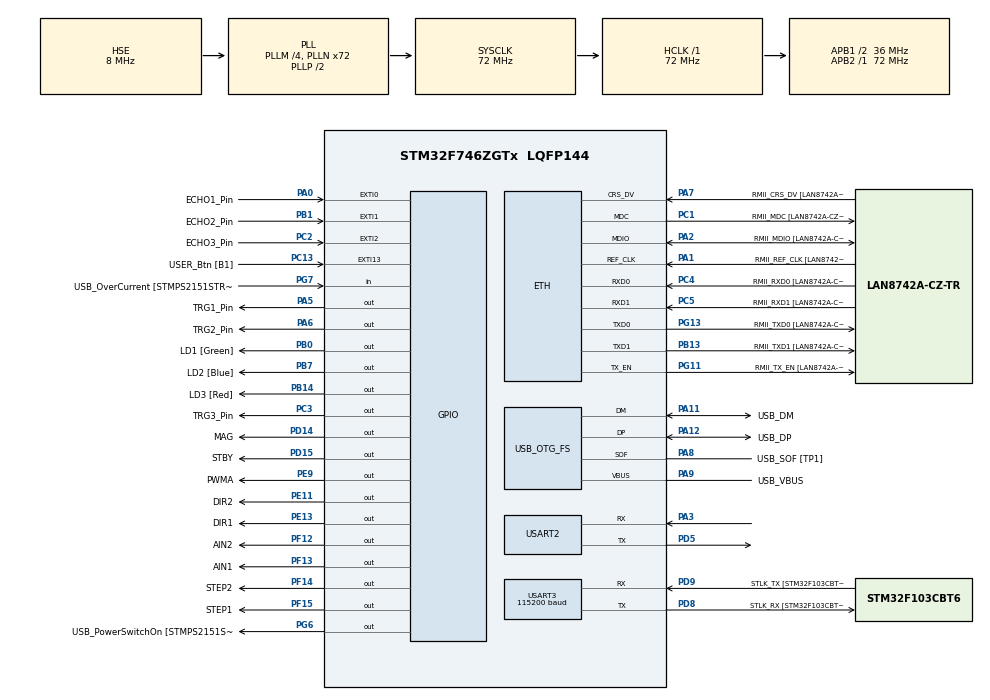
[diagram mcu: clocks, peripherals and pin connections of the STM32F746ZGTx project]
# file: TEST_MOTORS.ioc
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ETH.MACAddr=00\:80\:E1\:00\:00\:02
ETH.MediaInterface=HAL_ETH_RMII_MODE
ETH.PHY_Name=LAN8742A_PHY_ADDRESS
ETH.PHY_Value=0
ETH.PhyAddress=0
ETH.RxMode=ETH_RXINTERRUPT_MODE
FREERTOS.Tasks01=defaultTask,0,2048,StartDefaultTask,Default,NULL,Dynamic,NULL,NULL
FREERTOS.configTOTAL_HEAP_SIZE=96256
FREERTOS.configUSE_NEWLIB_REENTRANT=1
LWIP.BSP.number=1
LWIP.GATEWAY_ADDRESS=192.168.000.001
LWIP.IP_ADDRESS=192.168.000.010
LWIP.LWIP_DHCP=0
LWIP.NETMASK_ADDRESS=255.255.255.000
LWIP.SLIPIF_THREAD_STACKSIZE=1024
LWIP.TCPIP_THREAD_STACKSIZE=2048
LWIP.Version=v2.1.2_Cube
LWIP0.BSP.STBoard=false
LWIP0.BSP.api=BSP_COMPONENT_DRIVER
LWIP0.BSP.component=LAN8742
LWIP0.BSP.instance=LAN8742
LWIP0.BSP.name=Driver_PHY
LWIP0.BSP.semaphore=S_LAN8742
LWIP0.BSP.solution=LAN8742
Mcu.Family=STM32F7
Mcu.Name=STM32F746ZGTx
Mcu.Package=LQFP144
NVIC.ETH_IRQn=true\:5\:0\:false\:false\:true\:true\:false\:true\:true
NVIC.ETH_WKUP_IRQn=true\:5\:0\:false\:false\:true\:true\:true\:true\:true
NVIC.EXTI0_IRQn=true\:5\:0\:false\:false\:true\:true\:true\:true\:true
NVIC.EXTI1_IRQn=true\:5\:0\:false\:false\:true\:true\:true\:true\:true
NVIC.EXTI2_IRQn=true\:5\:0\:false\:false\:true\:true\:true\:true\:true
NVIC.PriorityGroup=NVIC_PRIORITYGROUP_4
NVIC.TIM5_IRQn=true\:15\:0\:false\:false\:true\:false\:false\:true\:true
NVIC.TimeBase=TIM5_IRQn
NVIC.TimeBaseIP=TIM5
NVIC.USART2_IRQn=true\:5\:0\:false\:false\:true\:true\:true\:true\:true
NVIC.USART3_IRQn=true\:5\:0\:false\:false\:true\:true\:true\:true\:true
PA0/WKUP.GPIO_Label=ECHO1_Pin
PA0/WKUP.GPIO_ModeDefaultEXTI=GPIO_MODE_IT_RISING_FALLING
PA0/WKUP.Signal=GPXTI0
PA1.GPIO_Label=RMII_REF_CLK [LAN8742A-CZ-TR_REFCLK0]
PA1.Mode=RMII
PA1.Signal=ETH_REF_CLK
PA10.GPIO_Label=USB_ID
PA10.Signal=USB_OTG_FS_ID
PA11.GPIO_Label=USB_DM
PA11.Mode=Device_Only
PA11.Signal=USB_OTG_FS_DM
PA12.GPIO_Label=USB_DP
PA12.Mode=Device_Only
PA12.Signal=USB_OTG_FS_DP
PA13.GPIO_Label=TMS
PA13.Mode=Serial_Wire
PA13.Signal=SYS_JTMS-SWDIO
PA14.GPIO_Label=TCK
PA14.Mode=Serial_Wire
PA14.Signal=SYS_JTCK-SWCLK
PA2.GPIO_Label=RMII_MDIO [LAN8742A-CZ-TR_MDIO]
PA2.Mode=RMII
PA2.Signal=ETH_MDIO
PA3.Mode=Asynchronous
PA3.Signal=USART2_RX
PA5.GPIO_Label=TRG1_Pin
PA5.Signal=GPIO_Output
PA6.GPIO_Label=TRG2_Pin
PA6.Signal=GPIO_Output
PA7.GPIO_Label=RMII_CRS_DV [LAN8742A-CZ-TR_CRS_DV]
PA7.Mode=RMII
PA7.Signal=ETH_CRS_DV
PA8.GPIO_Label=USB_SOF [TP1]
PA8.Mode=Activate_SOF_FS
PA8.Signal=USB_OTG_FS_SOF
PA9.GPIO_Label=USB_VBUS
PA9.Mode=Activate_VBUS
PA9.Signal=USB_OTG_FS_VBUS
PB0.GPIO_Label=LD1 [Green]
PB0.Signal=GPIO_Output
PB1.GPIO_Label=ECHO2_Pin
PB1.GPIO_ModeDefaultEXTI=GPIO_MODE_IT_RISING_FALLING
PB1.Signal=GPXTI1
PB13.GPIO_Label=RMII_TXD1 [LAN8742A-CZ-TR_TXD1]
PB13.Mode=RMII
PB13.Signal=ETH_TXD1
PB14.GPIO_Label=LD3 [Red]
PB14.Signal=GPIO_Output
PB3.GPIO_Label=SW0
PB3.Signal=SYS_JTDO-SWO
PB7.GPIO_Label=LD2 [Blue]
PB7.Signal=GPIO_Output
PC1.GPIO_Label=RMII_MDC [LAN8742A-CZ-TR_MDC]
PC1.Mode=RMII
PC1.Signal=ETH_MDC
PC13.GPIO_Label=USER_Btn [B1]
PC13.Signal=GPXTI13
PC14/OSC32_IN.Mode=LSE-External-Oscillator
PC14/OSC32_IN.Signal=RCC_OSC32_IN
PC15/OSC32_OUT.Mode=LSE-External-Oscillator
PC15/OSC32_OUT.Signal=RCC_OSC32_OUT
PC2.GPIO_Label=ECHO3_Pin
PC2.GPIO_ModeDefaultEXTI=GPIO_MODE_IT_RISING_FALLING
PC2.Signal=GPXTI2
PC3.GPIO_Label=TRG3_Pin
PC3.Signal=GPIO_Output
PC4.GPIO_Label=RMII_RXD0 [LAN8742A-CZ-TR_RXD0]
PC4.Mode=RMII
PC4.Signal=ETH_RXD0
PC5.GPIO_Label=RMII_RXD1 [LAN8742A-CZ-TR_RXD1]
PC5.Mode=RMII
PC5.Signal=ETH_RXD1
PD14.GPIO_Label=MAG
PD14.Signal=GPIO_Output
PD15.GPIO_Label=STBY
PD15.Signal=GPIO_Output
PD5.Mode=Asynchronous
PD5.Signal=USART2_TX
PD8.GPIO_Label=STLK_RX [STM32F103CBT6_PA3]
PD8.GPIO_PuPd=GPIO_PULLUP
PD8.Mode=Asynchronous
PD8.Signal=USART3_TX
PD9.GPIO_Label=STLK_TX [STM32F103CBT6_PA2]
PD9.GPIO_PuPd=GPIO_PULLUP
PD9.Mode=Asynchronous
PD9.Signal=USART3_RX
PE11.GPIO_Label=DIR2
PE11.Signal=GPIO_Output
PE13.GPIO_Label=DIR1
PE13.Signal=GPIO_Output
PE9.GPIO_Label=PWMA
PE9.Signal=GPIO_Output
PF12.GPIO_Label=AIN2
PF12.Signal=GPIO_Output
PF13.GPIO_Label=AIN1
PF13.Signal=GPIO_Output
PF14.GPIO_Label=STEP2
PF14.Signal=GPIO_Output
PF15.GPIO_Label=STEP1
PF15.Signal=GPIO_Output
PG11.GPIO_Label=RMII_TX_EN [LAN8742A-CZ-TR_TXEN]
PG11.Mode=RMII
PG11.Signal=ETH_TX_EN
PG13.GPIO_Label=RMII_TXD0 [LAN8742A-CZ-TR_TXD0]
PG13.Mode=RMII
PG13.Signal=ETH_TXD0
PG6.GPIO_Label=USB_PowerSwitchOn [STMPS2151STR_EN]
PG6.Signal=GPIO_Output
PG7.GPIO_Label=USB_OverCurrent [STMPS2151STR_FAULT]
PG7.Signal=GPIO_Input
PH0/OSC_IN.GPIO_Label=MCO [STM32F103CBT6_PA8]
PH0/OSC_IN.Mode=HSE-External-Clock-Source
PH0/OSC_IN.Signal=RCC_OSC_IN
PH1/OSC_OUT.Mode=HSE-External-Clock-Source
PH1/OSC_OUT.Signal=RCC_OSC_OUT
ProjectManager.HeapSize=0x200
ProjectManager.StackSize=0x400
ProjectManager.TargetToolchain=STM32CubeIDE
RCC.48MHZClocksFreq_Value=24000000
RCC.AHBFreq_Value=72000000
RCC.APB1CLKDivider=RCC_HCLK_DIV2
RCC.APB1Freq_Value=36000000
RCC.APB1TimFreq_Value=72000000
RCC.APB2Freq_Value=72000000
RCC.APB2TimFreq_Value=72000000
RCC.CortexFreq_Value=72000000
RCC.HCLKFreq_Value=72000000
RCC.HSE_VALUE=8000000
RCC.HSI_VALUE=16000000
RCC.PLLM=4
RCC.PLLMUL=RCC_PLL_MUL9
RCC.PLLN=72
RCC.PLLQ=3
RCC.PRESCALERUSB=RCC_USBCLKSOURCE_PLL_DIV1_5
RCC.SYSCLKFreq_VALUE=72000000
RCC.SYSCLKSource=RCC_SYSCLKSOURCE_PLLCLK
RCC.SYSCLKSourceVirtual=RCC_SYSCLKSOURCE_PLLCLK
RCC.USBFreq_Value=48000000
RCC.VCOOutputFreq_Value=144000000
TIM1.Period=99
TIM1.Prescaler=107
TIM2.Prescaler=71
USART2.VirtualMode-Asynchronous=VM_ASYNC
USART3.BaudRate=115200
USART3.VirtualMode-Asynchronous=VM_ASYNC
USB_OTG_FS.VirtualMode=Device_Only
VP_FREERTOS_VS_CMSIS_V1.Mode=CMSIS_V1
VP_LWIP_VS_Enabled.Mode=Enabled
VP_SYS_VS_tim5.Mode=TIM5
VP_TIM1_VS_ClockSourceINT.Mode=Internal
VP_TIM2_VS_ClockSourceINT.Mode=Internal
board=NUCLEO-F746ZG

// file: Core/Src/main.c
/* USER CODE BEGIN Header */
/**
 ******************************************************************************
 * @file           : main.c
 * @brief          : Main program body
 ******************************************************************************
 * @attention
 *
 * Copyright (c) 2026 STMicroelectronics.
 * All rights reserved.
 *
 * This software is licensed under terms that can be found in the LICENSE file
 * in the root directory of this software component.
 * If no LICENSE file comes with this software, it is provided AS-IS.
 *
 ******************************************************************************
 */
/* USER CODE END Header */
#include "main.h"
#include "cmsis_os.h"
#include "lwip.h"

/* USER CODE BEGIN Includes */
#include <stdio.h>
#include <errno.h>
#include "app_autotest.h"
#include "app_hw.h"
#include "modbus_tcp_server.h"
#include "FreeRTOS.h"
#include "modbus_regs.h"
#include "task.h"
#include "pos_task.h"
#include "freertos_user.h"
#include "app_control.h"
#include "uart3_link.h"
#include "home_task.h"
#include "box1_task.h"
#include <string.h>
#include <stdlib.h>

/* USER CODE END Includes */

TIM_HandleTypeDef htim1;
TIM_HandleTypeDef htim2;

UART_HandleTypeDef huart2;
UART_HandleTypeDef huart3;

PCD_HandleTypeDef hpcd_USB_OTG_FS;

osThreadId defaultTaskHandle;

void SystemClock_Config(void);
static void MX_GPIO_Init(void);
static void MX_USART3_UART_Init(void);
static void MX_USB_OTG_FS_PCD_Init(void);
static void MX_TIM1_Init(void);
static void MX_TIM2_Init(void);
static void MX_USART2_UART_Init(void);
void StartDefaultTask(void const * argument);

/* USER CODE BEGIN 0 */

void HAL_GPIO_EXTI_Callback(uint16_t GPIO_Pin) {
	if (GPIO_Pin == ECHO1_Pin_Pin)
		HCSR04_EXTI_Callback(&g_us1, GPIO_Pin);
	else if (GPIO_Pin == ECHO2_Pin_Pin)
		HCSR04_EXTI_Callback(&g_us2, GPIO_Pin);
	else if (GPIO_Pin == ECHO3_Pin_Pin)
		HCSR04_EXTI_Callback(&g_us3, GPIO_Pin);
	else {
		// ignore other EXTI sources (e.g. USER button)
		return;
	}
}
//void HAL_UART_RxCpltCallback(UART_HandleTypeDef *huart) {
//	UART3_Link_OnRxByteIRQ(huart);
//}
//void HomeTest_Task(void const *argument) {
//	(void) argument;
//
//	// Wait a bit so UART starts receiving from Arduino
//	osDelay(1000);
//
//	for (;;) {
//		// Press USER button to run HOME
//		if (HAL_GPIO_ReadPin(USER_Btn_GPIO_Port, USER_Btn_Pin)
//				== GPIO_PIN_SET) {
//			// debounce
//			osDelay(50);
//			while (HAL_GPIO_ReadPin(USER_Btn_GPIO_Port, USER_Btn_Pin)
//					== GPIO_PIN_SET)
//				osDelay(10);
//
//			printf("\r\n[TEST] BOX! start\r\n");
//
//			uint8_t ok = Home_RunOnce();
//
//			if (ok)
//				printf("[TEST] BOX! success\r\n");
//			else
//				printf("[TEST] BOX! fail (err=%u)\r\n",
//						(unsigned) mb_fb[FB_ERR_CODE]);
//		}
//
//		osDelay(50);
//	}
//}

/* USER CODE END 0 */

int main(void)
{

  /* MCU Configuration--------------------------------------------------------*/

  /* Reset of all peripherals, Initializes the Flash interface and the Systick. */
  HAL_Init();

  /* Configure the system clock */
  SystemClock_Config();

  /* Initialize all configured peripherals */
  MX_GPIO_Init();
  MX_USART3_UART_Init();
  MX_USB_OTG_FS_PCD_Init();
  MX_TIM1_Init();
  MX_TIM2_Init();
  MX_USART2_UART_Init();
  /* USER CODE BEGIN 2 */
	HAL_TIM_Base_Start(&htim2);
	APP_HW_Init();
	MX_FREERTOS_Init();
	UART3_Link_Init(&huart2);
  /* USER CODE END 2 */

  /* Create the thread(s) */
  /* definition and creation of defaultTask */
  osThreadDef(defaultTask, StartDefaultTask, osPriorityNormal, 0, 2048);
  defaultTaskHandle = osThreadCreate(osThread(defaultTask), NULL);

  /* USER CODE BEGIN RTOS_THREADS */
	/* USER CODE BEGIN RTOS_THREADS */
	osThreadDef(MB_TCP, ModbusTcpServer_Task, osPriorityNormal, 0, 2048);
	osThreadDef(MB_HB, ModbusHeartbeat_Task, osPriorityLow, 0, 1024);
	osThreadDef(CTRL, Control_Task, osPriorityAboveNormal, 0, 2048);
	//osThreadDef(homeTest, HomeTest_Task, osPriorityNormal, 0, 1024);

	osThreadCreate(osThread(MB_TCP), NULL);
	osThreadCreate(osThread(MB_HB), NULL);
	osThreadCreate(osThread(CTRL), NULL);
//	osThreadCreate(osThread(homeTest), NULL);

  /* USER CODE END RTOS_THREADS */

  /* Start scheduler */
  osKernelStart();

  /* We should never get here as control is now taken by the scheduler */
  /* Infinite loop */
	while (1) {

	}
}

void SystemClock_Config(void)
{
  RCC_OscInitTypeDef RCC_OscInitStruct = {0};
  RCC_ClkInitTypeDef RCC_ClkInitStruct = {0};

  /** Configure LSE Drive Capability
  */
  HAL_PWR_EnableBkUpAccess();

  /** Configure the main internal regulator output voltage
  */
  __HAL_RCC_PWR_CLK_ENABLE();
  __HAL_PWR_VOLTAGESCALING_CONFIG(PWR_REGULATOR_VOLTAGE_SCALE3);

  /** Initializes the RCC Oscillators according to the specified parameters
  * in the RCC_OscInitTypeDef structure.
  */
  RCC_OscInitStruct.OscillatorType = RCC_OSCILLATORTYPE_HSE;
  RCC_OscInitStruct.HSEState = RCC_HSE_BYPASS;
  RCC_OscInitStruct.PLL.PLLState = RCC_PLL_ON;
  RCC_OscInitStruct.PLL.PLLSource = RCC_PLLSOURCE_HSE;
  RCC_OscInitStruct.PLL.PLLM = 4;
  RCC_OscInitStruct.PLL.PLLN = 72;
  RCC_OscInitStruct.PLL.PLLP = RCC_PLLP_DIV2;
  RCC_OscInitStruct.PLL.PLLQ = 3;
  if (HAL_RCC_OscConfig(&RCC_OscInitStruct) != HAL_OK)
  {
    Error_Handler();
  }

  /** Initializes the CPU, AHB and APB buses clocks
  */
  RCC_ClkInitStruct.ClockType = RCC_CLOCKTYPE_HCLK|RCC_CLOCKTYPE_SYSCLK
                              |RCC_CLOCKTYPE_PCLK1|RCC_CLOCKTYPE_PCLK2;
  RCC_ClkInitStruct.SYSCLKSource = RCC_SYSCLKSOURCE_PLLCLK;
  RCC_ClkInitStruct.AHBCLKDivider = RCC_SYSCLK_DIV1;
  RCC_ClkInitStruct.APB1CLKDivider = RCC_HCLK_DIV2;
  RCC_ClkInitStruct.APB2CLKDivider = RCC_HCLK_DIV1;

  if (HAL_RCC_ClockConfig(&RCC_ClkInitStruct, FLASH_LATENCY_2) != HAL_OK)
  {
    Error_Handler();
  }
}

static void MX_TIM1_Init(void)
{

  TIM_ClockConfigTypeDef sClockSourceConfig = {0};
  TIM_MasterConfigTypeDef sMasterConfig = {0};

  htim1.Instance = TIM1;
  htim1.Init.Prescaler = 107;
  htim1.Init.CounterMode = TIM_COUNTERMODE_UP;
  htim1.Init.Period = 99;
  htim1.Init.ClockDivision = TIM_CLOCKDIVISION_DIV1;
  htim1.Init.RepetitionCounter = 0;
  htim1.Init.AutoReloadPreload = TIM_AUTORELOAD_PRELOAD_DISABLE;
  if (HAL_TIM_Base_Init(&htim1) != HAL_OK)
  {
    Error_Handler();
  }
  sClockSourceConfig.ClockSource = TIM_CLOCKSOURCE_INTERNAL;
  if (HAL_TIM_ConfigClockSource(&htim1, &sClockSourceConfig) != HAL_OK)
  {
    Error_Handler();
  }
  sMasterConfig.MasterOutputTrigger = TIM_TRGO_RESET;
  sMasterConfig.MasterOutputTrigger2 = TIM_TRGO2_RESET;
  sMasterConfig.MasterSlaveMode = TIM_MASTERSLAVEMODE_DISABLE;
  if (HAL_TIMEx_MasterConfigSynchronization(&htim1, &sMasterConfig) != HAL_OK)
  {
    Error_Handler();
  }

}

static void MX_TIM2_Init(void)
{

  TIM_ClockConfigTypeDef sClockSourceConfig = {0};
  TIM_MasterConfigTypeDef sMasterConfig = {0};

  htim2.Instance = TIM2;
  htim2.Init.Prescaler = 71;
  htim2.Init.CounterMode = TIM_COUNTERMODE_UP;
  htim2.Init.Period = 4294967295;
  htim2.Init.ClockDivision = TIM_CLOCKDIVISION_DIV1;
  htim2.Init.AutoReloadPreload = TIM_AUTORELOAD_PRELOAD_DISABLE;
  if (HAL_TIM_Base_Init(&htim2) != HAL_OK)
  {
    Error_Handler();
  }
  sClockSourceConfig.ClockSource = TIM_CLOCKSOURCE_INTERNAL;
  if (HAL_TIM_ConfigClockSource(&htim2, &sClockSourceConfig) != HAL_OK)
  {
    Error_Handler();
  }
  sMasterConfig.MasterOutputTrigger = TIM_TRGO_RESET;
  sMasterConfig.MasterSlaveMode = TIM_MASTERSLAVEMODE_DISABLE;
  if (HAL_TIMEx_MasterConfigSynchronization(&htim2, &sMasterConfig) != HAL_OK)
  {
    Error_Handler();
  }

}

static void MX_USART2_UART_Init(void)
{

  huart2.Instance = USART2;
  huart2.Init.BaudRate = 115200;
  huart2.Init.WordLength = UART_WORDLENGTH_8B;
  huart2.Init.StopBits = UART_STOPBITS_1;
  huart2.Init.Parity = UART_PARITY_NONE;
  huart2.Init.Mode = UART_MODE_TX_RX;
  huart2.Init.HwFlowCtl = UART_HWCONTROL_NONE;
  huart2.Init.OverSampling = UART_OVERSAMPLING_16;
  huart2.Init.OneBitSampling = UART_ONE_BIT_SAMPLE_DISABLE;
  huart2.AdvancedInit.AdvFeatureInit = UART_ADVFEATURE_NO_INIT;
  if (HAL_UART_Init(&huart2) != HAL_OK)
  {
    Error_Handler();
  }

}

static void MX_USART3_UART_Init(void)
{

  huart3.Instance = USART3;
  huart3.Init.BaudRate = 115200;
  huart3.Init.WordLength = UART_WORDLENGTH_8B;
  huart3.Init.StopBits = UART_STOPBITS_1;
  huart3.Init.Parity = UART_PARITY_NONE;
  huart3.Init.Mode = UART_MODE_TX_RX;
  huart3.Init.HwFlowCtl = UART_HWCONTROL_NONE;
  huart3.Init.OverSampling = UART_OVERSAMPLING_16;
  huart3.Init.OneBitSampling = UART_ONE_BIT_SAMPLE_DISABLE;
  huart3.AdvancedInit.AdvFeatureInit = UART_ADVFEATURE_NO_INIT;
  if (HAL_UART_Init(&huart3) != HAL_OK)
  {
    Error_Handler();
  }

}

static void MX_USB_OTG_FS_PCD_Init(void)
{

  hpcd_USB_OTG_FS.Instance = USB_OTG_FS;
  hpcd_USB_OTG_FS.Init.dev_endpoints = 6;
  hpcd_USB_OTG_FS.Init.speed = PCD_SPEED_FULL;
  hpcd_USB_OTG_FS.Init.dma_enable = DISABLE;
  hpcd_USB_OTG_FS.Init.phy_itface = PCD_PHY_EMBEDDED;
  hpcd_USB_OTG_FS.Init.Sof_enable = ENABLE;
  hpcd_USB_OTG_FS.Init.low_power_enable = DISABLE;
  hpcd_USB_OTG_FS.Init.lpm_enable = DISABLE;
  hpcd_USB_OTG_FS.Init.vbus_sensing_enable = ENABLE;
  hpcd_USB_OTG_FS.Init.use_dedicated_ep1 = DISABLE;
  if (HAL_PCD_Init(&hpcd_USB_OTG_FS) != HAL_OK)
  {
    Error_Handler();
  }

}

static void MX_GPIO_Init(void)
{
  GPIO_InitTypeDef GPIO_InitStruct = {0};

  /* GPIO Ports Clock Enable */
  __HAL_RCC_GPIOC_CLK_ENABLE();
  __HAL_RCC_GPIOH_CLK_ENABLE();
  __HAL_RCC_GPIOA_CLK_ENABLE();
  __HAL_RCC_GPIOB_CLK_ENABLE();
  __HAL_RCC_GPIOF_CLK_ENABLE();
  __HAL_RCC_GPIOE_CLK_ENABLE();
  __HAL_RCC_GPIOD_CLK_ENABLE();
  __HAL_RCC_GPIOG_CLK_ENABLE();

  /*Configure GPIO pin Output Level */
  HAL_GPIO_WritePin(TRG3_Pin_GPIO_Port, TRG3_Pin_Pin, GPIO_PIN_RESET);

  /*Configure GPIO pin Output Level */
  HAL_GPIO_WritePin(GPIOA, TRG1_Pin_Pin|TRG2_Pin_Pin, GPIO_PIN_RESET);

  /*Configure GPIO pin Output Level */
  HAL_GPIO_WritePin(GPIOB, LD1_Pin|LD3_Pin|LD2_Pin, GPIO_PIN_RESET);

  /*Configure GPIO pin Output Level */
  HAL_GPIO_WritePin(GPIOF, AIN2_Pin|AIN1_Pin|STEP2_Pin|STEP1_Pin, GPIO_PIN_RESET);

  /*Configure GPIO pin Output Level */
  HAL_GPIO_WritePin(GPIOE, PWMA_Pin|DIR2_Pin|DIR1_Pin, GPIO_PIN_RESET);

  /*Configure GPIO pin Output Level */
  HAL_GPIO_WritePin(GPIOD, MAG_Pin|STBY_Pin, GPIO_PIN_RESET);

  /*Configure GPIO pin Output Level */
  HAL_GPIO_WritePin(USB_PowerSwitchOn_GPIO_Port, USB_PowerSwitchOn_Pin, GPIO_PIN_RESET);

  /*Configure GPIO pin : USER_Btn_Pin */
  GPIO_InitStruct.Pin = USER_Btn_Pin;
  GPIO_InitStruct.Mode = GPIO_MODE_IT_RISING;
  GPIO_InitStruct.Pull = GPIO_NOPULL;
  HAL_GPIO_Init(USER_Btn_GPIO_Port, &GPIO_InitStruct);

  /*Configure GPIO pin : ECHO3_Pin_Pin */
  GPIO_InitStruct.Pin = ECHO3_Pin_Pin;
  GPIO_InitStruct.Mode = GPIO_MODE_IT_RISING_FALLING;
  GPIO_InitStruct.Pull = GPIO_NOPULL;
  HAL_GPIO_Init(ECHO3_Pin_GPIO_Port, &GPIO_InitStruct);

  /*Configure GPIO pin : TRG3_Pin_Pin */
  GPIO_InitStruct.Pin = TRG3_Pin_Pin;
  GPIO_InitStruct.Mode = GPIO_MODE_OUTPUT_PP;
  GPIO_InitStruct.Pull = GPIO_NOPULL;
  GPIO_InitStruct.Speed = GPIO_SPEED_FREQ_LOW;
  HAL_GPIO_Init(TRG3_Pin_GPIO_Port, &GPIO_InitStruct);

  /*Configure GPIO pin : ECHO1_Pin_Pin */
  GPIO_InitStruct.Pin = ECHO1_Pin_Pin;
  GPIO_InitStruct.Mode = GPIO_MODE_IT_RISING_FALLING;
  GPIO_InitStruct.Pull = GPIO_NOPULL;
  HAL_GPIO_Init(ECHO1_Pin_GPIO_Port, &GPIO_InitStruct);

  /*Configure GPIO pins : TRG1_Pin_Pin TRG2_Pin_Pin */
  GPIO_InitStruct.Pin = TRG1_Pin_Pin|TRG2_Pin_Pin;
  GPIO_InitStruct.Mode = GPIO_MODE_OUTPUT_PP;
  GPIO_InitStruct.Pull = GPIO_NOPULL;
  GPIO_InitStruct.Speed = GPIO_SPEED_FREQ_LOW;
  HAL_GPIO_Init(GPIOA, &GPIO_InitStruct);

  /*Configure GPIO pins : LD1_Pin LD3_Pin LD2_Pin */
  GPIO_InitStruct.Pin = LD1_Pin|LD3_Pin|LD2_Pin;
  GPIO_InitStruct.Mode = GPIO_MODE_OUTPUT_PP;
  GPIO_InitStruct.Pull = GPIO_NOPULL;
  GPIO_InitStruct.Speed = GPIO_SPEED_FREQ_LOW;
  HAL_GPIO_Init(GPIOB, &GPIO_InitStruct);

  /*Configure GPIO pin : ECHO2_Pin_Pin */
  GPIO_InitStruct.Pin = ECHO2_Pin_Pin;
  GPIO_InitStruct.Mode = GPIO_MODE_IT_RISING_FALLING;
  GPIO_InitStruct.Pull = GPIO_NOPULL;
  HAL_GPIO_Init(ECHO2_Pin_GPIO_Port, &GPIO_InitStruct);

  /*Configure GPIO pins : AIN2_Pin AIN1_Pin STEP2_Pin STEP1_Pin */
  GPIO_InitStruct.Pin = AIN2_Pin|AIN1_Pin|STEP2_Pin|STEP1_Pin;
  GPIO_InitStruct.Mode = GPIO_MODE_OUTPUT_PP;
  GPIO_InitStruct.Pull = GPIO_NOPULL;
  GPIO_InitStruct.Speed = GPIO_SPEED_FREQ_LOW;
  HAL_GPIO_Init(GPIOF, &GPIO_InitStruct);

  /*Configure GPIO pins : PWMA_Pin DIR2_Pin DIR1_Pin */
  GPIO_InitStruct.Pin = PWMA_Pin|DIR2_Pin|DIR1_Pin;
  GPIO_InitStruct.Mode = GPIO_MODE_OUTPUT_PP;
  GPIO_InitStruct.Pull = GPIO_NOPULL;
  GPIO_InitStruct.Speed = GPIO_SPEED_FREQ_LOW;
  HAL_GPIO_Init(GPIOE, &GPIO_InitStruct);

  /*Configure GPIO pins : MAG_Pin STBY_Pin */
  GPIO_InitStruct.Pin = MAG_Pin|STBY_Pin;
  GPIO_InitStruct.Mode = GPIO_MODE_OUTPUT_PP;
  GPIO_InitStruct.Pull = GPIO_NOPULL;
  GPIO_InitStruct.Speed = GPIO_SPEED_FREQ_LOW;
  HAL_GPIO_Init(GPIOD, &GPIO_InitStruct);

  /*Configure GPIO pin : USB_PowerSwitchOn_Pin */
  GPIO_InitStruct.Pin = USB_PowerSwitchOn_Pin;
  GPIO_InitStruct.Mode = GPIO_MODE_OUTPUT_PP;
  GPIO_InitStruct.Pull = GPIO_NOPULL;
  GPIO_InitStruct.Speed = GPIO_SPEED_FREQ_LOW;
  HAL_GPIO_Init(USB_PowerSwitchOn_GPIO_Port, &GPIO_InitStruct);

  /*Configure GPIO pin : USB_OverCurrent_Pin */
  GPIO_InitStruct.Pin = USB_OverCurrent_Pin;
  GPIO_InitStruct.Mode = GPIO_MODE_INPUT;
  GPIO_InitStruct.Pull = GPIO_NOPULL;
  HAL_GPIO_Init(USB_OverCurrent_GPIO_Port, &GPIO_InitStruct);

  /* EXTI interrupt init*/
  HAL_NVIC_SetPriority(EXTI0_IRQn, 5, 0);
  HAL_NVIC_EnableIRQ(EXTI0_IRQn);

  HAL_NVIC_SetPriority(EXTI1_IRQn, 5, 0);
  HAL_NVIC_EnableIRQ(EXTI1_IRQn);

  HAL_NVIC_SetPriority(EXTI2_IRQn, 5, 0);
  HAL_NVIC_EnableIRQ(EXTI2_IRQn);

}

/* USER CODE BEGIN 4 */
void HAL_UART_RxCpltCallback(UART_HandleTypeDef *huart) {
	UART3_Link_OnRxByteIRQ(huart);
}

void HAL_UART_ErrorCallback(UART_HandleTypeDef *huart) {
	UART3_Link_OnUartErrorIRQ(huart);
}

/* USER CODE END 4 */

void StartDefaultTask(void const * argument)
{
  /* init code for LWIP */
  MX_LWIP_Init();
  /* USER CODE BEGIN 5 */
	if (lwipReadySem != NULL) {
		osSemaphoreRelease(lwipReadySem);
	}
	/* Infinite loop */
	for (;;) {
		HAL_GPIO_TogglePin(LD1_GPIO_Port, LD1_Pin);
		osDelay(1000);
	}
  /* USER CODE END 5 */
}

void HAL_TIM_PeriodElapsedCallback(TIM_HandleTypeDef *htim)
{
  if (htim->Instance == TIM5) {
    HAL_IncTick();
  }
}

void Error_Handler(void)
{
	__disable_irq();
	while (1) {
	}
}

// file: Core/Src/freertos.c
/* USER CODE BEGIN Header */
/**
  ******************************************************************************
  * File Name          : freertos.c
  * Description        : Code for freertos applications
  ******************************************************************************
  * @attention
  *
  * Copyright (c) 2026 STMicroelectronics.
  * All rights reserved.
  *
  * This software is licensed under terms that can be found in the LICENSE file
  * in the root directory of this software component.
  * If no LICENSE file comes with this software, it is provided AS-IS.
  *
  ******************************************************************************
  */
/* USER CODE END Header */

#include "FreeRTOS.h"
#include "task.h"
#include "main.h"

/* USER CODE BEGIN Includes */
#include "cmsis_os.h"
#include "main.h"
#include "lwip.h"
#include "lwip/netif.h"
#include "lwip/timeouts.h"
#include "modbus_tcp_server.h"
extern struct netif gnetif;
/* USER CODE END Includes */

/* USER CODE BEGIN Variables */
osSemaphoreId lwipReadySem;
/* USER CODE END Variables */

/* GetIdleTaskMemory prototype (linked to static allocation support) */
void vApplicationGetIdleTaskMemory( StaticTask_t **ppxIdleTaskTCBBuffer, StackType_t **ppxIdleTaskStackBuffer, uint32_t *pulIdleTaskStackSize );

/* USER CODE BEGIN GET_IDLE_TASK_MEMORY */
static StaticTask_t xIdleTaskTCBBuffer;
static StackType_t xIdleStack[configMINIMAL_STACK_SIZE];

void vApplicationGetIdleTaskMemory( StaticTask_t **ppxIdleTaskTCBBuffer, StackType_t **ppxIdleTaskStackBuffer, uint32_t *pulIdleTaskStackSize )
{
  *ppxIdleTaskTCBBuffer = &xIdleTaskTCBBuffer;
  *ppxIdleTaskStackBuffer = &xIdleStack[0];
  *pulIdleTaskStackSize = configMINIMAL_STACK_SIZE;
  /* place for user code */
}
/* USER CODE END GET_IDLE_TASK_MEMORY */

/* USER CODE BEGIN Application */
void MX_FREERTOS_Init(void)
{
  /* Create LWIP ready semaphore (binary, initially empty) */
  osSemaphoreDef(LWIP_READY);
  lwipReadySem = osSemaphoreCreate(osSemaphore(LWIP_READY), 1);

  /* Take it immediately → semaphore count = 0 */
  osSemaphoreWait(lwipReadySem, 0);
}
void vApplicationMallocFailedHook(void)
{
  taskDISABLE_INTERRUPTS();
  for(;;);
}
void vApplicationStackOverflowHook(TaskHandle_t xTask, char *pcTaskName)
{
  (void)xTask; (void)pcTaskName;
  taskDISABLE_INTERRUPTS();
  for(;;);
}

/* USER CODE END Application */
